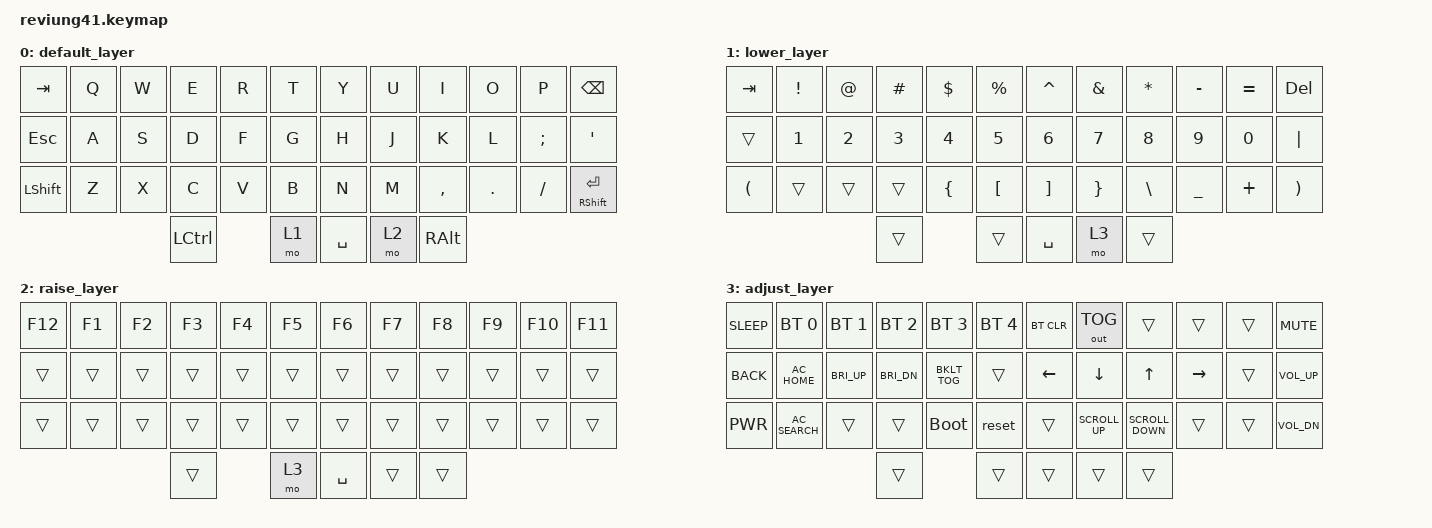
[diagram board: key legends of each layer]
/*
 * Copyright (c) 2020 The ZMK Contributors
 *
 * SPDX-License-Identifier: MIT
 */

#include <behaviors.dtsi>
#include <dt-bindings/zmk/keys.h>
#include <dt-bindings/zmk/bt.h>
#include <dt-bindings/zmk/rgb.h>
#include <dt-bindings/zmk/ext_power.h>
#include <dt-bindings/zmk/outputs.h>

/ {
        keymap {
                compatible = "zmk,keymap";

                default_layer {
// -------------------------------------------------------------------------------------
// |  TAB |  Q  |  W  |  E  |  R  |  T  |---|  Y  |  U   |  I  |  O  |  P  |   BKSP    |
// | ESC  |  A  |  S  |  D  |  F  |  G  |---|  H  |  J   |  K  |  L  |  ;  |    '      |
// | SHFT |  Z  |  X  |  C  |  V  |  B  |---|  N  |  M   |  ,  |  .  |  /  | SHFT(RET) |
//                         | CTRL | LWR | SPC | RSE  | ALT |
                        bindings = <
   &kp TAB   &kp Q &kp W &kp E &kp R &kp T   &kp Y &kp U  &kp I     &kp O   &kp P    &kp BSPC
   &kp ESC &kp A &kp S &kp D &kp F &kp G   &kp H &kp J  &kp K     &kp L   &kp SEMI &kp SQT
   &kp LSHFT &kp Z &kp X &kp C &kp V &kp B   &kp N &kp M  &kp COMMA &kp DOT &kp FSLH &mt RSHFT RET
                        &kp LCTRL  &mo 1 &kp SPACE &mo 2  &kp RALT
                        >;
                };

                lower_layer {
// ----------------------------------------------------------------------------------
// |  ~   |  !  |  @  |  #  |  $  |  %  |---|  ^  |  &  |  *  |  (  |  )  |   DEL   |
// |  `   |  1  |  2  |  3  |  4  |  5  |---|  6  |  7  |  8  |  9  |  0  |    |    |
// |  (   |     |     |     |  {  |  [  |---|  ]  |  }  |  \  |  _  |  +  |    )    |
//                         |     |     | SPC | ADJ |     |
                        bindings = <
   &kp TAB &kp EXCL &kp AT &kp HASH &kp DLLR &kp PRCNT  &kp CARET &kp AMPS &kp STAR &kp MINUS &kp EQUAL &kp DEL
   &trans  &kp N1   &kp N2 &kp N3   &kp N4   &kp N5     &kp N6    &kp N7   &kp N8   &kp N9    &kp N0    &kp PIPE
   &kp LPAR  &trans  &trans  &trans  &kp LBRC &kp LBKT  &kp RBKT  &kp RBRC  &kp BSLH  &kp UNDER &kp PLUS &kp RPAR
                                 &trans      &trans       &kp SPACE       &mo 3       &trans
                        >;
                };

                raise_layer {
// -----------------------------------------------------------------------------------------
// | F12 | F1 | F2 | F3 | F4 | F5 |---| F6 | F7 | F8 | F9 | F10 | F11 |
// |     |    |    |    |    |    |---|    |    |    |    |     |     |
// |     |    |    |    |    |    |---|    |    |    |    |     |     |
//                   |     | ADJ | SPACE |    |     |
                        bindings = <
   &kp F12 &kp F1 &kp F2 &kp F3 &kp F4 &kp F5     &kp F6 &kp F7 &kp F8 &kp F9 &kp F10 &kp F11
	 &trans &trans &trans &trans &trans &trans	    &trans &trans	&trans &trans	&trans &trans	
	 &trans &trans &trans &trans &trans &trans	    &trans &trans	&trans &trans	&trans &trans	
									&trans      &mo 3       &kp SPACE        &trans      &trans
                        >;
                };

                adjust_layer {
// -----------------------------------------------------------------------------------------
// | SLEEP |  BT1  |  BT2  |  BT3  |  BT4  |  BT5  |---| BTC | USB |    |     |   | MUTE |
// | BACK  | HOME  |  B-UP |  B-DN | LIGHT |       |---| LFT | DWN | UP | RGT |   | VOLU |
// | POWER |SEARCH |       |       | BOOT  | RESET |---| | SCR-DWN | SCR-UP   | | | VOLD |
//                                    |     |     |     |     |     |
                        bindings = <
   &kp K_SLEEP &bt BT_SEL 0  &bt BT_SEL 1  &bt BT_SEL 2  &bt BT_SEL 3  &bt BT_SEL 4     &bt BT_CLR &out OUT_TOG &trans &trans &trans &kp K_MUTE
	 &kp K_BACK &kp C_AC_HOME &kp C_BRI_UP &kp C_BRI_DN &kp C_BKLT_TOG &trans         &kp LEFT &kp DOWN &kp UP &kp RIGHT &trans &kp K_VOL_UP
	 &kp K_PWR &kp C_AC_SEARCH &trans &trans &bootloader &reset                       &trans &kp K_SCROLL_UP &kp K_SCROLL_DOWN &trans &trans &kp K_VOL_DN
															&trans &trans &trans &trans &trans
                        >;
                };
        };
};
